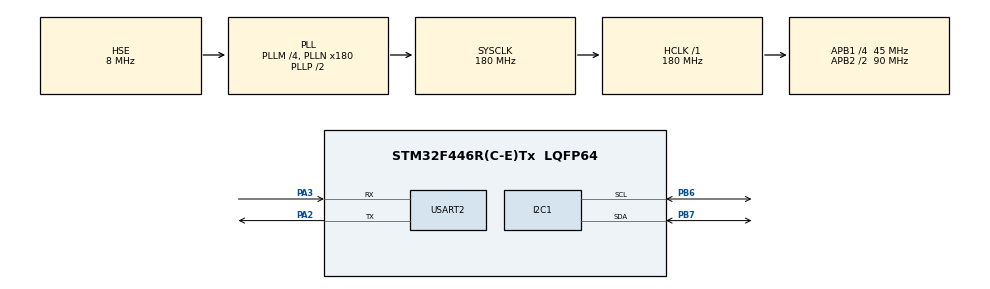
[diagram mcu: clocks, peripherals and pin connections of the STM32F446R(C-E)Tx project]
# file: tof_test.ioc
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I2C1.I2C_Mode=I2C_Fast
Mcu.Family=STM32F4
Mcu.Name=STM32F446R(C-E)Tx
Mcu.Package=LQFP64
NVIC.I2C1_ER_IRQn=true\:0\:0\:false\:false\:true\:true\:true\:true
NVIC.I2C1_EV_IRQn=true\:0\:0\:false\:false\:true\:true\:true\:true
NVIC.PriorityGroup=NVIC_PRIORITYGROUP_0
PA2.Mode=Asynchronous
PA2.Signal=USART2_TX
PA3.Mode=Asynchronous
PA3.Signal=USART2_RX
PB6.Mode=I2C
PB6.Signal=I2C1_SCL
PB7.Mode=I2C
PB7.Signal=I2C1_SDA
PC14-OSC32_IN.Mode=LSE-External-Oscillator
PC14-OSC32_IN.Signal=RCC_OSC32_IN
PC15-OSC32_OUT.Mode=LSE-External-Oscillator
PC15-OSC32_OUT.Signal=RCC_OSC32_OUT
PH0-OSC_IN.Mode=HSE-External-Oscillator
PH0-OSC_IN.Signal=RCC_OSC_IN
PH1-OSC_OUT.Mode=HSE-External-Oscillator
PH1-OSC_OUT.Signal=RCC_OSC_OUT
ProjectManager.HeapSize=0x200
ProjectManager.StackSize=0x400
ProjectManager.TargetToolchain=STM32CubeIDE
RCC.48MHZClocksFreq_Value=84000000
RCC.AHBFreq_Value=180000000
RCC.APB1CLKDivider=RCC_HCLK_DIV4
RCC.APB1Freq_Value=45000000
RCC.APB1TimFreq_Value=90000000
RCC.APB2CLKDivider=RCC_HCLK_DIV2
RCC.APB2Freq_Value=90000000
RCC.APB2TimFreq_Value=180000000
RCC.CortexFreq_Value=180000000
RCC.FLatency-AdvancedSettings=FLASH_LATENCY_5
RCC.HCLKFreq_Value=180000000
RCC.HSE_VALUE=8000000
RCC.HSI_VALUE=16000000
RCC.PLLM=4
RCC.PLLN=180
RCC.PLLSourceVirtual=RCC_PLLSOURCE_HSE
RCC.SYSCLKFreq_VALUE=180000000
RCC.SYSCLKSource=RCC_SYSCLKSOURCE_PLLCLK
RCC.USBFreq_Value=180000000
RCC.VCOOutputFreq_Value=360000000
USART2.VirtualMode=VM_ASYNC
board=NUCLEO-F446RE

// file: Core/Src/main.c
/* USER CODE BEGIN Header */
/**
  ******************************************************************************
  * @file           : main.c
  * @brief          : Main program body
  ******************************************************************************
  * @attention
  *
  * Copyright (c) 2022 STMicroelectronics.
  * All rights reserved.
  *
  * This software is licensed under terms that can be found in the LICENSE file
  * in the root directory of this software component.
  * If no LICENSE file comes with this software, it is provided AS-IS.
  *
  ******************************************************************************
  */
/* USER CODE END Header */
#include "main.h"

/* USER CODE BEGIN Includes */
#include "VL53L1X_api.h"
/* USER CODE END Includes */

I2C_HandleTypeDef hi2c1;

UART_HandleTypeDef huart2;

/* USER CODE BEGIN PV */
uint16_t dev = 0x52;
volatile uint16_t dis = 0;
/* USER CODE END PV */

void SystemClock_Config(void);
static void MX_GPIO_Init(void);
static void MX_USART2_UART_Init(void);
static void MX_I2C1_Init(void);

/* USER CODE BEGIN 0 */
int _write(int file, char* p, int len) {
	HAL_UART_Transmit(&huart2, p, len, 16);
	return len;
}
/* USER CODE END 0 */

int main(void)
{

  /* MCU Configuration--------------------------------------------------------*/

  /* Reset of all peripherals, Initializes the Flash interface and the Systick. */
  HAL_Init();

  /* Configure the system clock */
  SystemClock_Config();

  /* Initialize all configured peripherals */
  MX_GPIO_Init();
  MX_USART2_UART_Init();
  MX_I2C1_Init();
  /* USER CODE BEGIN 2 */
	uint8_t bootState = 0;
	uint8_t boot[8] = {66, 79, 79, 84, 48, 13, 10, 0};
	while(bootState==0){
		VL53L1X_BootState(dev, &bootState);
		HAL_UART_Transmit(&huart2, boot, 8, 10);
		HAL_Delay(2);
	}
	HAL_Delay(5);
	VL53L1X_SensorInit(dev);
	VL53L1X_SetInterruptPolarity(dev, 0);
	VL53L1X_StartRanging(dev);
  /* USER CODE END 2 */

  /* Infinite loop */
  /* USER CODE BEGIN WHILE */
	uint8_t dataReady = 0;
  while (1)
  {
	  while (dataReady == 0){
	  		  VL53L1X_CheckForDataReady(dev, &dataReady);
	  		  //HAL_UART_Transmit(&huart2, getting, 6, 10);
	  		  HAL_Delay(2);
	  	  }
	  VL53L1X_GetDistance(dev, &dis);
	  VL53L1X_ClearInterrupt(dev);
	  printf("%d\r\n", dis);
	  dataReady = 0;
	  HAL_Delay(50);
    /* USER CODE END WHILE */

  }
}

void SystemClock_Config(void)
{
  RCC_OscInitTypeDef RCC_OscInitStruct = {0};
  RCC_ClkInitTypeDef RCC_ClkInitStruct = {0};

  /** Configure the main internal regulator output voltage
  */
  __HAL_RCC_PWR_CLK_ENABLE();
  __HAL_PWR_VOLTAGESCALING_CONFIG(PWR_REGULATOR_VOLTAGE_SCALE1);

  /** Initializes the RCC Oscillators according to the specified parameters
  * in the RCC_OscInitTypeDef structure.
  */
  RCC_OscInitStruct.OscillatorType = RCC_OSCILLATORTYPE_HSE;
  RCC_OscInitStruct.HSEState = RCC_HSE_ON;
  RCC_OscInitStruct.PLL.PLLState = RCC_PLL_ON;
  RCC_OscInitStruct.PLL.PLLSource = RCC_PLLSOURCE_HSE;
  RCC_OscInitStruct.PLL.PLLM = 4;
  RCC_OscInitStruct.PLL.PLLN = 180;
  RCC_OscInitStruct.PLL.PLLP = RCC_PLLP_DIV2;
  RCC_OscInitStruct.PLL.PLLQ = 2;
  RCC_OscInitStruct.PLL.PLLR = 2;
  if (HAL_RCC_OscConfig(&RCC_OscInitStruct) != HAL_OK)
  {
    Error_Handler();
  }

  /** Activate the Over-Drive mode
  */
  if (HAL_PWREx_EnableOverDrive() != HAL_OK)
  {
    Error_Handler();
  }

  /** Initializes the CPU, AHB and APB buses clocks
  */
  RCC_ClkInitStruct.ClockType = RCC_CLOCKTYPE_HCLK|RCC_CLOCKTYPE_SYSCLK
                              |RCC_CLOCKTYPE_PCLK1|RCC_CLOCKTYPE_PCLK2;
  RCC_ClkInitStruct.SYSCLKSource = RCC_SYSCLKSOURCE_PLLCLK;
  RCC_ClkInitStruct.AHBCLKDivider = RCC_SYSCLK_DIV1;
  RCC_ClkInitStruct.APB1CLKDivider = RCC_HCLK_DIV4;
  RCC_ClkInitStruct.APB2CLKDivider = RCC_HCLK_DIV2;

  if (HAL_RCC_ClockConfig(&RCC_ClkInitStruct, FLASH_LATENCY_5) != HAL_OK)
  {
    Error_Handler();
  }
}

static void MX_I2C1_Init(void)
{

  hi2c1.Instance = I2C1;
  hi2c1.Init.ClockSpeed = 400000;
  hi2c1.Init.DutyCycle = I2C_DUTYCYCLE_2;
  hi2c1.Init.OwnAddress1 = 0;
  hi2c1.Init.AddressingMode = I2C_ADDRESSINGMODE_7BIT;
  hi2c1.Init.DualAddressMode = I2C_DUALADDRESS_DISABLE;
  hi2c1.Init.OwnAddress2 = 0;
  hi2c1.Init.GeneralCallMode = I2C_GENERALCALL_DISABLE;
  hi2c1.Init.NoStretchMode = I2C_NOSTRETCH_DISABLE;
  if (HAL_I2C_Init(&hi2c1) != HAL_OK)
  {
    Error_Handler();
  }

}

static void MX_USART2_UART_Init(void)
{

  huart2.Instance = USART2;
  huart2.Init.BaudRate = 115200;
  huart2.Init.WordLength = UART_WORDLENGTH_8B;
  huart2.Init.StopBits = UART_STOPBITS_1;
  huart2.Init.Parity = UART_PARITY_NONE;
  huart2.Init.Mode = UART_MODE_TX_RX;
  huart2.Init.HwFlowCtl = UART_HWCONTROL_NONE;
  huart2.Init.OverSampling = UART_OVERSAMPLING_16;
  if (HAL_UART_Init(&huart2) != HAL_OK)
  {
    Error_Handler();
  }

}

static void MX_GPIO_Init(void)
{

  /* GPIO Ports Clock Enable */
  __HAL_RCC_GPIOC_CLK_ENABLE();
  __HAL_RCC_GPIOH_CLK_ENABLE();
  __HAL_RCC_GPIOA_CLK_ENABLE();
  __HAL_RCC_GPIOB_CLK_ENABLE();

}

void Error_Handler(void)
{
  __disable_irq();
  while (1)
  {
  }
}
